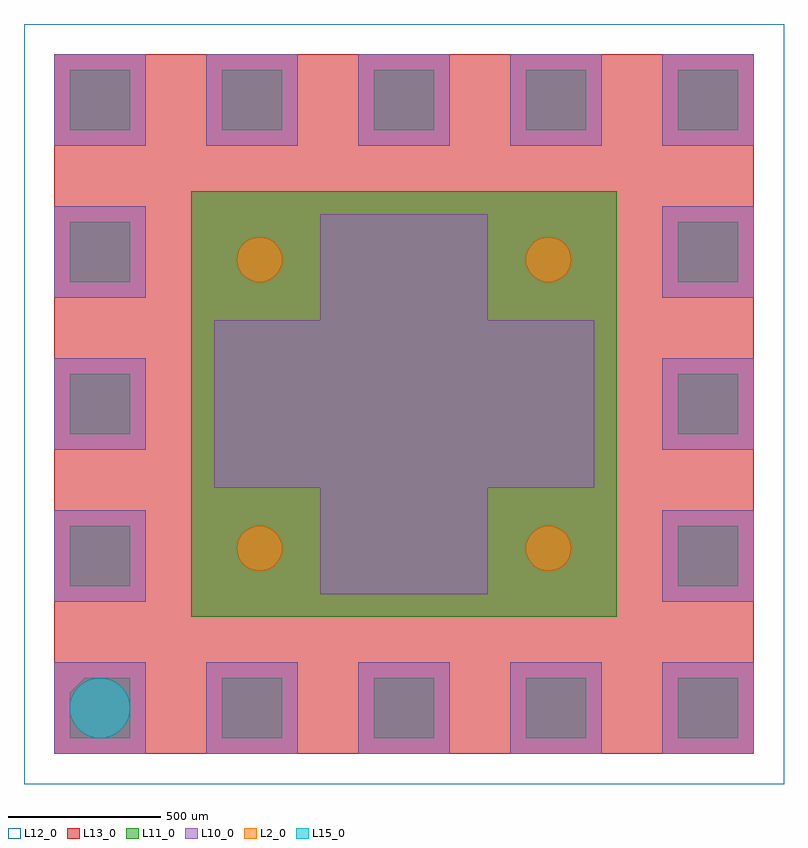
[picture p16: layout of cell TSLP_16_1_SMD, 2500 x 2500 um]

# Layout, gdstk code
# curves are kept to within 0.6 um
import gdstk
lib = gdstk.Library(unit=1e-6, precision=1e-09)
def R(c, l, rs):  # rectangles x0, y0, x1, y1
    for r in rs: c.add(gdstk.rectangle(r[:2], r[2:], *l))
def A(c, l, x, y, w, h, nx, ny, dx, dy):  # array of equal rectangles
    R(c, l, [(x+i*dx, y+j*dy, x+i*dx+w, y+j*dy+h) for i in range(nx) for j in range(ny)])
def P(c, l, *ps):  # polygons
    for p in ps: c.add(gdstk.Polygon(p, *l))
L2_0 = (2, 0)
L10_0 = (10, 0)
L11_0 = (11, 0)
L12_0 = (12, 0)
L13_0 = (13, 0)
L15_0 = (15, 0)

tslp_16_1_smd = lib.new_cell('TSLP_16_1_SMD')
P(tslp_16_1_smd, L2_0, [(-405,-501),(-410,-513),(-427,-533),(-449,-546),(-462,-549),(-475,-550),(-488,-549),(-501,-546),(-513,-540),(-523,-533),(-533,-523),(-540,-513),(-546,-501),(-549,-488),(-550,-475),(-549,-462),(-546,-449),(-533,-427),(-513,-410),(-501,-405),(-488,-401),(-475,-400),(-462,-401),(-449,-405),(-438,-410),(-427,-418),(-418,-427),(-410,-438),(-405,-449),(-401,-462),(-400,-475),(-401,-488)],
  [(-405,449),(-410,438),(-418,427),(-427,418),(-438,410),(-449,405),(-462,401),(-475,400),(-488,401),(-501,405),(-513,410),(-533,427),(-546,449),(-549,462),(-550,475),(-549,488),(-546,501),(-540,513),(-533,523),(-523,533),(-513,540),(-501,546),(-488,549),(-475,550),(-462,549),(-449,546),(-427,533),(-410,513),(-405,501),(-401,488),(-400,475),(-401,462)],
  [(546,-501),(540,-513),(533,-523),(523,-533),(513,-540),(501,-546),(488,-549),(475,-550),(462,-549),(449,-546),(427,-533),(410,-513),(405,-501),(401,-488),(400,-475),(401,-462),(405,-449),(410,-438),(418,-427),(427,-418),(438,-410),(449,-405),(462,-401),(475,-400),(488,-401),(501,-405),(513,-410),(533,-427),(546,-449),(549,-462),(550,-475),(549,-488)],
  [(546,449),(533,427),(513,410),(501,405),(488,401),(475,400),(462,401),(449,405),(438,410),(427,418),(418,427),(410,438),(405,449),(401,462),(400,475),(401,488),(405,501),(410,513),(427,533),(449,546),(462,549),(475,550),(488,549),(501,546),(513,540),(523,533),(533,523),(540,513),(546,501),(549,488),(550,475),(549,462)])
A(tslp_16_1_smd, L10_0, -1150, -1150, 300, 300, 5, 2, 500, 2000)
A(tslp_16_1_smd, L10_0, -1150, -650, 300, 300, 1, 3, 0, 500)
A(tslp_16_1_smd, L10_0, 850, -650, 300, 300, 1, 3, 0, 500)
P(tslp_16_1_smd, L10_0, [(-275,-625),(275,-625),(275,-275),(625,-275),(625,275),(275,275),(275,625),(-275,625),(-275,275),(-625,275),(-625,-275),(-275,-275)])
A(tslp_16_1_smd, L11_0, -600, -1100, 200, 200, 4, 1, 500, 0)
A(tslp_16_1_smd, L11_0, -1100, -600, 200, 200, 1, 3, 0, 500)
A(tslp_16_1_smd, L11_0, 900, -600, 200, 200, 1, 3, 0, 500)
A(tslp_16_1_smd, L11_0, -1100, 900, 200, 200, 5, 1, 500, 0)
R(tslp_16_1_smd, L11_0, [(-700,-700,700,700)])
P(tslp_16_1_smd, L11_0, [(-900,-1100),(-1100,-1100),(-1100,-950),(-1050,-900),(-900,-900)])
R(tslp_16_1_smd, L12_0, [(-1250,-1250,1250,1250)])
R(tslp_16_1_smd, L13_0, [(-1150,-1150,1150,1150)])
P(tslp_16_1_smd, L15_0, [(-906,-1034),(-913,-1050),(-923,-1064),(-936,-1077),(-950,-1087),(-966,-1094),(-983,-1099),(-1000,-1100),(-1017,-1099),(-1034,-1094),(-1050,-1087),(-1064,-1077),(-1077,-1064),(-1087,-1050),(-1094,-1034),(-1099,-1017),(-1100,-1000),(-1099,-983),(-1094,-966),(-1087,-950),(-1077,-936),(-1064,-923),(-1050,-913),(-1034,-906),(-1017,-902),(-1000,-900),(-983,-902),(-966,-906),(-950,-913),(-936,-923),(-923,-936),(-913,-950),(-906,-966),(-902,-983),(-900,-1000),(-902,-1017)])

lib.write_gds('TSLP_16_1_SMD.gds')
